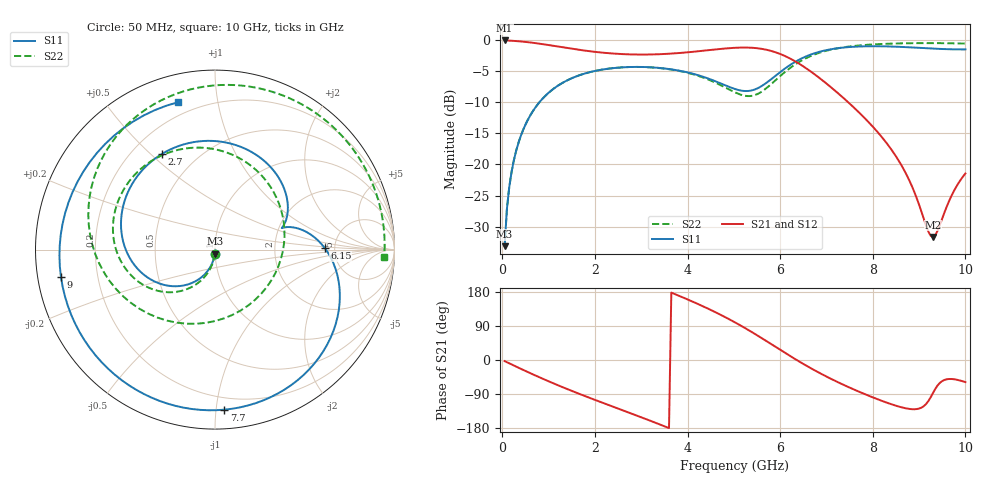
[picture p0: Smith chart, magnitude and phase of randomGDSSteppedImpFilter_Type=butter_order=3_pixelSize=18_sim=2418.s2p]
! freq	dB(S11)	phase(S11)	dB(S12)	phase(S12)
!  dB(S21)	phase(S21)	dB(S22)	phase(S22)
!S-par simulation data
#  GHz  S  DB  R 50
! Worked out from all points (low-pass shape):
!   200 points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, 50 MHz to 10 GHz, reference 50 ohm
!   highest |S21| = -0.01 dB at 50 MHz (marker M1); lowest = -31.7 dB at 9.3 GHz (marker M2)
!   |S21| within 3 dB of the highest: start of sweep to 6.236 GHz
!   lowest |S11| = -33.2 dB at 50 MHz (marker M3), VSWR 1.04, Z = 49.8 - j2.19 ohm
!   |S11| at or under -10 dB: start of sweep to 798 MHz
!   |S22| runs from -33.2 to -0.4 dB; largest |S21 - S12| = 0
!   S11 on the Smith chart (normalised r, x): 50 MHz: 1.00, -0.04; 2.7 GHz: 0.32, +0.54; 6.15 GHz: 4.13, +0.13; 7.7 GHz: 0.12, -1.05; 9 GHz: 0.07, -0.09; 10 GHz: 0.13, +0.77
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0.05  -33.17 -93.2  -0.01 -2.9  -0.01 -2.9  -33.17 -92.7
0.1  -27.16 -96.6  -0.02 -5.9  -0.02 -5.9  -27.16 -95.6
0.2  -21.21 -103.2  -0.05 -11.7  -0.05 -11.7  -21.20 -101.2
0.5  -13.58 -122.0  -0.24 -28.9  -0.24 -28.9  -13.57 -117.1
1.1  -7.83 -157.4  -0.86 -61.4  -0.86 -61.4  -7.82 -146.6
1.75  -5.41 167.1  -1.61 -93.5  -1.61 -93.5  -5.40 -175.4
2.7  -4.30 118.9  -2.24 -137.3  -2.24 -137.3  -4.30 145.4
3.4  -4.44 84.2  -2.22 -170.0  -2.22 -170.0  -4.46 115.2
4.25  -5.65 44.0  -1.73 146.4  -1.73 146.4  -5.76 69.7
5.05  -7.89 19.2  -1.18 97.6  -1.18 97.6  -8.46 -1.7
5.35  -8.11 17.8  -1.17 76.5  -1.17 76.5  -8.97 -43.7
5.65  -7.12 16.5  -1.42 54.1  -1.42 54.1  -8.01 -89.7
6.15  -4.29 0.9  -2.68 15.5  -2.68 15.5  -4.81 -153.2
6.45  -2.95 -14.5  -3.94 -6.8  -3.94 -6.8  -3.29 177.6
6.7  -2.17 -28.7  -5.22 -24.2  -5.22 -24.2  -2.39 156.7
7.2  -1.30 -57.8  -8.19 -55.8  -8.19 -55.8  -1.32 121.9
7.7  -0.98 -86.6  -11.59 -83.5  -11.59 -83.5  -0.81 93.3
8.35  -0.97 -125.6  -17.06 -114.6  -17.06 -114.6  -0.53 61.8
9  -1.19 -170.0  -26.48 -128.2  -26.48 -128.2  -0.44 34.3
9.3  -1.32 166.4  -31.70 -87.1  -31.70 -87.1  -0.43 22.7
9.65  -1.42 136.2  -25.85 -50.1  -25.85 -50.1  -0.46 9.8
10  -1.45 104.0  -21.45 -58.3  -21.45 -58.3  -0.51 -2.4
